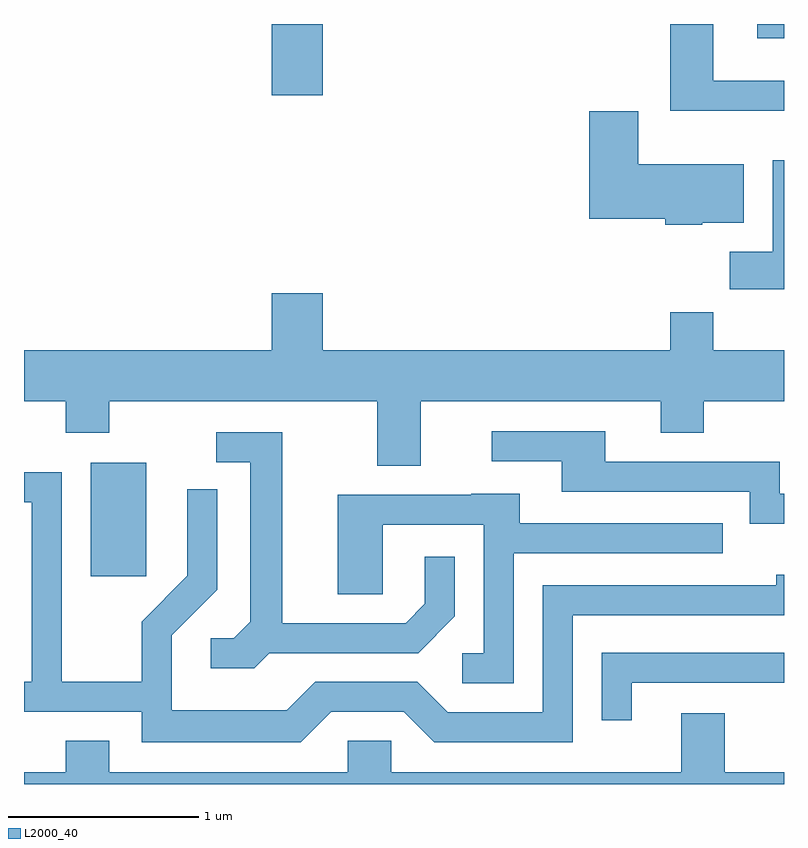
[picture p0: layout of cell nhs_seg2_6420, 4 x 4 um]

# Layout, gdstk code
import gdstk
lib = gdstk.Library(unit=1e-6, precision=1e-09)
def R(c, l, rs):  # rectangles x0, y0, x1, y1
    for r in rs: c.add(gdstk.rectangle(r[:2], r[2:], *l))
def P(c, l, *ps):  # polygons
    for p in ps: c.add(gdstk.Polygon(p, *l))
L2000_40 = (2000, 40)

nhs_seg2_6420 = lib.new_cell('nhs_seg2_6420')
R(nhs_seg2_6420, L2000_40, [(373.961,1102.896,374.254,1103.494), (374.916,1105.426,375.184,1105.802), (377.471,1105.726,377.611,1105.802)])
P(nhs_seg2_6420, L2000_40, [(377.611,1105.504),(377.239,1105.504),(377.239,1105.802),(377.011,1105.802),(377.011,1105.346),(377.611,1105.346)],
  [(377.18,1104.756),(377.399,1104.756),(377.399,1105.064),(376.844,1105.064),(376.844,1105.344),(376.586,1105.344),(376.586,1104.776),(376.986,1104.776),(376.986,1104.746),(377.18,1104.746)],
  [(377.611,1105.084),(377.551,1105.084),(377.551,1104.604),(377.326,1104.604),(377.326,1104.406),(377.611,1104.406)],
  [(373.611,1103.816),(373.831,1103.816),(373.831,1103.651),(374.059,1103.651),(374.059,1103.816),(375.471,1103.816),(375.471,1103.476),(375.699,1103.476),(375.699,1103.816),(376.961,1103.816),(376.961,1103.651),(377.189,1103.651),(377.189,1103.816),(377.611,1103.816),(377.611,1104.084),(377.239,1104.084),(377.239,1104.284),(377.011,1104.284),(377.011,1104.084),(375.184,1104.084),(375.184,1104.384),(374.916,1104.384),(374.916,1104.084),(373.611,1104.084)],
  [(377.611,1103.329),(377.589,1103.329),(377.589,1103.499),(376.669,1103.499),(376.669,1103.659),(376.073,1103.659),(376.073,1103.501),(376.441,1103.501),(376.441,1103.341),(377.431,1103.341),(377.431,1103.171),(377.611,1103.171)],
  [(374.902,1102.491),(375.687,1102.491),(375.879,1102.684),(375.879,1102.998),(375.721,1102.998),(375.721,1102.752),(375.619,1102.649),(374.969,1102.649),(374.969,1103.654),(374.623,1103.654),(374.623,1103.496),(374.801,1103.496),(374.801,1102.657),(374.714,1102.569),(374.593,1102.569),(374.593,1102.411),(374.822,1102.411)],
  [(375.227,1102.181),(375.609,1102.181),(375.769,1102.021),(376.499,1102.021),(376.499,1102.691),(377.611,1102.691),(377.611,1102.904),(377.571,1102.904),(377.571,1102.849),(376.341,1102.849),(376.341,1102.179),(375.842,1102.179),(375.682,1102.339),(375.144,1102.339),(374.994,1102.189),(374.389,1102.189),(374.389,1102.584),(374.629,1102.824),(374.629,1103.353),(374.471,1103.353),(374.471,1102.897),(374.231,1102.657),(374.231,1102.339),(373.809,1102.339),(373.809,1103.444),(373.611,1103.444),(373.611,1103.286),(373.651,1103.286),(373.651,1102.339),(373.611,1102.339),(373.611,1102.181),(374.231,1102.181),(374.231,1102.021),(375.067,1102.021)],
  [(376.189,1103.016),(377.288,1103.016),(377.288,1103.174),(376.219,1103.174),(376.219,1103.329),(375.965,1103.329),(375.965,1103.324),(375.261,1103.324),(375.261,1102.801),(375.499,1102.801),(375.499,1103.166),(376.031,1103.166),(376.031,1102.489),(375.918,1102.489),(375.918,1102.331),(376.189,1102.331)],
  [(376.809,1102.336),(377.611,1102.336),(377.611,1102.494),(376.651,1102.494),(376.651,1102.138),(376.809,1102.138)],
  [(377.611,1101.864),(377.299,1101.864),(377.299,1102.174),(377.071,1102.174),(377.071,1101.864),(375.544,1101.864),(375.544,1102.029),(375.316,1102.029),(375.316,1101.864),(374.059,1101.864),(374.059,1102.029),(373.831,1102.029),(373.831,1101.864),(373.611,1101.864),(373.611,1101.802),(377.611,1101.802)])

lib.write_gds('nhs_seg2_6420.gds')
